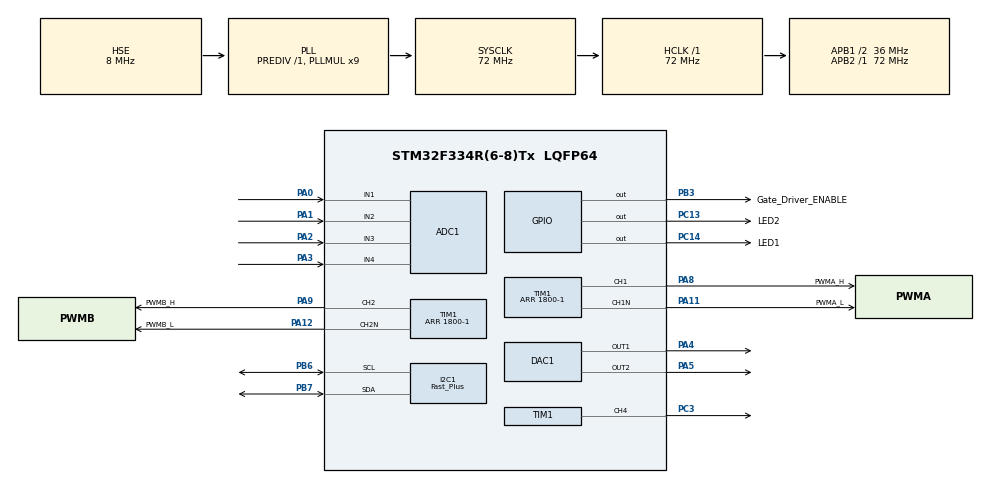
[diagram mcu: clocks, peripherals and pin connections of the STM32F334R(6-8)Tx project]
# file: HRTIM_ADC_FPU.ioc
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ADC1.Channel-0\#ChannelRegularConversion=ADC_CHANNEL_1
ADC1.ExternalTrigInjecConv=ADC_EXTERNALTRIGINJECCONV_T1_CC4
ADC1.InjNumberOfConversion=4
ADC1.InjectedChannel-1\#ChannelInjectedConversion=ADC_CHANNEL_1
ADC1.InjectedChannel-2\#ChannelInjectedConversion=ADC_CHANNEL_2
ADC1.InjectedChannel-3\#ChannelInjectedConversion=ADC_CHANNEL_3
ADC1.InjectedChannel-4\#ChannelInjectedConversion=ADC_CHANNEL_4
ADC1.InjectedOffset-1\#ChannelInjectedConversion=0
ADC1.InjectedOffset-2\#ChannelInjectedConversion=0
ADC1.InjectedOffset-3\#ChannelInjectedConversion=0
ADC1.InjectedOffset-4\#ChannelInjectedConversion=0
ADC1.InjectedOffsetNumber-1\#ChannelInjectedConversion=ADC_OFFSET_NONE
ADC1.InjectedOffsetNumber-2\#ChannelInjectedConversion=ADC_OFFSET_NONE
ADC1.InjectedOffsetNumber-3\#ChannelInjectedConversion=ADC_OFFSET_NONE
ADC1.InjectedOffsetNumber-4\#ChannelInjectedConversion=ADC_OFFSET_NONE
ADC1.InjectedRank-1\#ChannelInjectedConversion=1
ADC1.InjectedRank-2\#ChannelInjectedConversion=2
ADC1.InjectedRank-3\#ChannelInjectedConversion=3
ADC1.InjectedRank-4\#ChannelInjectedConversion=4
ADC1.InjectedSamplingTime-1\#ChannelInjectedConversion=ADC_SAMPLETIME_19CYCLES_5
ADC1.InjectedSamplingTime-2\#ChannelInjectedConversion=ADC_SAMPLETIME_19CYCLES_5
ADC1.InjectedSamplingTime-3\#ChannelInjectedConversion=ADC_SAMPLETIME_19CYCLES_5
ADC1.InjectedSamplingTime-4\#ChannelInjectedConversion=ADC_SAMPLETIME_19CYCLES_5
ADC1.InjectedSamplingTimeOPAMP-1\#ChannelInjectedConversion=ADC_SAMPLETIME_61CYCLES_5
ADC1.InjectedSamplingTimeOPAMP-2\#ChannelInjectedConversion=ADC_SAMPLETIME_61CYCLES_5
ADC1.InjectedSamplingTimeOPAMP-3\#ChannelInjectedConversion=ADC_SAMPLETIME_61CYCLES_5
ADC1.InjectedSamplingTimeOPAMP-4\#ChannelInjectedConversion=ADC_SAMPLETIME_61CYCLES_5
ADC1.NbrOfConversionFlag=1
ADC1.Offset-0\#ChannelRegularConversion=0
ADC1.OffsetNumber-0\#ChannelRegularConversion=ADC_OFFSET_NONE
ADC1.Rank-0\#ChannelRegularConversion=1
ADC1.Rank1_Channel=ADC_CHANNEL_1
ADC1.Rank2_Channel=ADC_CHANNEL_2
ADC1.Rank3_Channel=ADC_CHANNEL_3
ADC1.Rank4_Channel=ADC_CHANNEL_4
ADC1.SamplingTime-0\#ChannelRegularConversion=ADC_SAMPLETIME_1CYCLE_5
ADC1.SubFamily=STM32F334x8
ADC1.master=1
I2C1.I2C_Speed_Mode=I2C_Fast_Plus
I2C1.Timing=0x00000001
Mcu.Family=STM32F3
Mcu.Name=STM32F334R(6-8)Tx
Mcu.Package=LQFP64
NVIC.PriorityGroup=NVIC_PRIORITYGROUP_4
NVIC.TIM1_UP_TIM16_IRQn=true\:0\:0\:true\:false\:true\:true\:true\:true
PA0.Mode=IN1-Single-Ended
PA0.Signal=ADC1_IN1
PA1.Mode=IN2-Single-Ended
PA1.Signal=ADC1_IN2
PA11.GPIO_Label=PWMA_L
PA11.Mode=PWM Generation1 CH1 CH1N
PA11.Signal=TIM1_CH1N
PA12.GPIO_Label=PWMB_L
PA12.Mode=PWM Generation2 CH2 CH2N
PA12.Signal=TIM1_CH2N
PA13.Mode=Serial_Wire
PA13.Signal=SYS_JTMS-SWDIO
PA14.Mode=Serial_Wire
PA14.Signal=SYS_JTCK-SWCLK
PA2.Mode=IN3-Single-Ended
PA2.Signal=ADC1_IN3
PA3.Mode=IN4-Single-Ended
PA3.Signal=ADC1_IN4
PA4.Signal=COMP_DAC11_group
PA5.Signal=COMP_DAC12_group
PA8.GPIO_Label=PWMA_H
PA8.Signal=S_TIM1_CH1
PA9.GPIO_Label=PWMB_H
PA9.Signal=S_TIM1_CH2
PB3.GPIO_Label=Gate_Driver_ENABLE
PB3.GPIO_PuPd=GPIO_PULLDOWN
PB3.Signal=GPIO_Output
PB6.Mode=I2C
PB6.Signal=I2C1_SCL
PB7.Mode=I2C
PB7.Signal=I2C1_SDA
PC13.GPIO_Label=LED2
PC13.Signal=GPIO_Output
PC14\ /\ OSC32_IN.GPIO_Label=LED1
PC14\ /\ OSC32_IN.Signal=GPIO_Output
PC3.Signal=S_TIM1_CH4
PF0\ /\ OSC_IN.Mode=HSE-External-Oscillator
PF0\ /\ OSC_IN.Signal=RCC_OSC_IN
PF1\ /\ OSC_OUT.Mode=HSE-External-Oscillator
PF1\ /\ OSC_OUT.Signal=RCC_OSC_OUT
ProjectManager.HeapSize=0x200
ProjectManager.StackSize=0x400
ProjectManager.TargetToolchain=MDK-ARM V5.32
RCC.AHBFreq_Value=72000000
RCC.APB1CLKDivider=RCC_HCLK_DIV2
RCC.APB1Freq_Value=36000000
RCC.APB1TimFreq_Value=72000000
RCC.APB2Freq_Value=72000000
RCC.APB2TimFreq_Value=72000000
RCC.CortexFreq_Value=72000000
RCC.HCLKFreq_Value=72000000
RCC.HSE_VALUE=8000000
RCC.HSI_VALUE=8000000
RCC.LSE_VALUE=32768
RCC.PLLMUL=RCC_PLL_MUL9
RCC.PLLSourceVirtual=RCC_PLLSOURCE_HSE
RCC.SYSCLKFreq_VALUE=72000000
RCC.SYSCLKSourceVirtual=RCC_SYSCLKSOURCE_PLLCLK
SH.COMP_DAC11_group.0=DAC1_OUT1,DAC_OUT1
SH.COMP_DAC12_group.0=DAC1_OUT2,DAC_OUT2
SH.S_TIM1_CH1.0=TIM1_CH1,PWM Generation1 CH1 CH1N
SH.S_TIM1_CH2.0=TIM1_CH2,PWM Generation2 CH2 CH2N
SH.S_TIM1_CH4.0=TIM1_CH4,PWM Generation4 CH4
STMicroelectronics.X-CUBE-ALGOBUILD.1.3.0.LibraryCcDSPOoLibraryJjDSPOoLibrary=true
TIM1.AutoReloadPreload=TIM_AUTORELOAD_PRELOAD_ENABLE
TIM1.AutomaticOutput=TIM_AUTOMATICOUTPUT_ENABLE
TIM1.Channel-PWM\ Generation1\ CH1\ CH1N=TIM_CHANNEL_1
TIM1.Channel-PWM\ Generation2\ CH2\ CH2N=TIM_CHANNEL_2
TIM1.Channel-PWM\ Generation4\ CH4=TIM_CHANNEL_4
TIM1.CounterMode=TIM_COUNTERMODE_CENTERALIGNED1
TIM1.DeadTime=20
TIM1.OCMode_PWM-PWM\ Generation1\ CH1\ CH1N=TIM_OCMODE_PWM1
TIM1.OCMode_PWM-PWM\ Generation2\ CH2\ CH2N=TIM_OCMODE_PWM1
TIM1.OCMode_PWM-PWM\ Generation4\ CH4=TIM_OCMODE_PWM2
TIM1.OCNPolarity_1=TIM_OCNPOLARITY_HIGH
TIM1.OCPolarity_1=TIM_OCPOLARITY_HIGH
TIM1.OffStateIDLEMode=TIM_OSSI_ENABLE
TIM1.OffStateRunMode=TIM_OSSR_ENABLE
TIM1.Period=1800-1
TIM1.Pulse-PWM\ Generation1\ CH1\ CH1N=600-1
TIM1.Pulse-PWM\ Generation2\ CH2\ CH2N=600-1
TIM1.Pulse-PWM\ Generation4\ CH4=1800-3
TIM1.RepetitionCounter=1
TIM1.TIM_MasterOutputTrigger=TIM_TRGO_OC4REF
TIM1.TIM_MasterOutputTrigger2=TIM_TRGO2_RESET
TIM1.TIM_MasterSlaveMode=TIM_MASTERSLAVEMODE_DISABLE
VP_STMicroelectronics.X-CUBE-ALGOBUILD_VS_DSPOoLibraryJjLibrary_1.3.0_1.3.0.Mode=DSPOoLibraryJjLibrary
VP_TIM1_VS_ClockSourceINT.Mode=Internal
board=custom

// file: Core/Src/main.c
/* USER CODE BEGIN Header */
/**
  ******************************************************************************
  * @file           : main.c
  * @brief          : Main program body
  ******************************************************************************
  * @attention
  *
  * Copyright (c) 2025 STMicroelectronics.
  * All rights reserved.
  *
  * This software is licensed under terms that can be found in the LICENSE file
  * in the root directory of this software component.
  * If no LICENSE file comes with this software, it is provided AS-IS.
  *
  ******************************************************************************
  */
/* USER CODE END Header */
#include "main.h"
#include "adc.h"
#include "dac.h"
#include "i2c.h"
#include "tim.h"
#include "gpio.h"

/* USER CODE BEGIN PV */

__IO float theat					 = 0.0f;//6.25176808f;//0.0f;
//float sin_ref 			 	 = 0.0f;
//__IO float Duty 					 = 0.0f;

__IO uint16_t i = 0, x = 0 ,sample_cnt = 0;
__IO float ADC[1200] = {0.0f};
//ac
__IO float ac_voltage_pow_sum = 0;
__IO float ac_current_pow_sum = 0;
__IO float ac_voltage_rms = 0.0f;
__IO float ac_current_rms = 0.0f;
//----------------------------------------------------
//dc
__IO uint32_t dc_voltage_sum = 0;
__IO uint32_t dc_current_sum = 0;
__IO uint16_t dc_voltage_avg = 0;
__IO uint16_t dc_current_avg = 0;
__IO float dc_voltage = 0.0f;
__IO float dc_current = 0.0f;
//------------------------------------------------------
//soft_starer
float soft_starter_deep = 0.8f;
uint16_t soft_starter_cnt = 0;

/* USER CODE END PV */

void SystemClock_Config(void);

/* USER CODE BEGIN 0 */

/*---------------------------------------------------------------------------------
Totem_pfc 参考matlab仿真得出的码

Fs		20k
stm32f334r8平台
使用TIM1的PWM和IT

PLL		参考ti
PI		参考ti

-----------------------------------------------------------------------------------*/
/* USER CODE END 0 */

int main(void)
{

  /* MCU Configuration--------------------------------------------------------*/

  /* Reset of all peripherals, Initializes the Flash interface and the Systick. */
  HAL_Init();

  /* Configure the system clock */
  SystemClock_Config();

  /* Initialize all configured peripherals */
  MX_GPIO_Init();
  MX_I2C1_Init();
  MX_TIM1_Init();
  MX_ADC1_Init();
  MX_DAC1_Init();
  /* USER CODE BEGIN 2 */
	GPIOC->ODR |= (1 << 14);
	OLED_Init();

	//ADC校准
	HAL_Delay(50);
	HAL_ADCEx_Calibration_Start(&hadc1,ADC_SINGLE_ENDED);    //AD校准
	HAL_Delay(50);

	//SOGI初始化
	SOGI_PLL_Init(50.0f, 20e3f, &spll1);

	//Notch_Fltr
	Notch_Fltr_Init(&Bus_Volt_notch, &notch_TwiceGridFreq,
					 0.25f, 0.00001f, 100.0f, 20e3f);
	PR_Init(&pr);

	//开启ADC注入组
	HAL_ADCEx_InjectedStart(&hadc1);

  	HAL_TIM_PWM_Start(&htim1,TIM_CHANNEL_1);
	HAL_TIMEx_PWMN_Start(&htim1,TIM_CHANNEL_1);
	HAL_TIM_PWM_Start(&htim1,TIM_CHANNEL_2);
	HAL_TIMEx_PWMN_Start(&htim1,TIM_CHANNEL_2);
	HAL_TIM_PWM_Start(&htim1,TIM_CHANNEL_4);//用来触发同步采样

	HAL_DAC_Start(&hdac1,DAC_CHANNEL_1);  //开启DAC1
	HAL_DAC_Start(&hdac1,DAC_CHANNEL_2);
	HAL_DAC_SetValue(&hdac1, DAC_CHANNEL_1, DAC_ALIGN_12B_R, 4000);
	HAL_DAC_SetValue(&hdac1, DAC_CHANNEL_2, DAC_ALIGN_12B_R, 4000);

	HAL_TIM_Base_Start_IT(&htim1);			//开启中断

	OLED_ShowString(2,1,"***Totem_PFC***");	//到目前成功初始化
	OLED_ShowString(3,1,"AC V:  .  I: .  ");
	OLED_ShowString(4,1,"DC V:  .  I: .  ");
	GPIOC->ODR &= ~(1 << 14);
  /* USER CODE END 2 */

  /* Infinite loop */
  while (1)
  {

    /* USER CODE BEGIN 3 */

	  OLED_ShowNum(3,  6, (uint8_t)	 ac_voltage_rms, 2);
	  OLED_ShowNum(3,  9, (uint16_t)(ac_voltage_rms * 100) % 100, 2);
	  OLED_ShowNum(3, 13, (uint8_t)  ac_current_rms, 1);
	  OLED_ShowNum(3, 15, (uint16_t)(ac_current_rms * 100) % 100, 2);
	  OLED_ShowNum(4,  6, (uint8_t)dc_voltage, 2);
	  OLED_ShowNum(4,  9, (uint16_t)(dc_voltage * 100) % 100, 2);
	  OLED_ShowNum(4, 13, (uint8_t)dc_current, 1);
	  OLED_ShowNum(4, 15, (uint16_t)(dc_current * 100) % 100, 2);
	  OLED_ShowNum(1, 1, (uint16_t)(I_set_ref * 100), 3);
  }
  /* USER CODE END 3 */
}

void SystemClock_Config(void)
{
  RCC_OscInitTypeDef RCC_OscInitStruct = {0};
  RCC_ClkInitTypeDef RCC_ClkInitStruct = {0};
  RCC_PeriphCLKInitTypeDef PeriphClkInit = {0};

  /** Initializes the RCC Oscillators according to the specified parameters
  * in the RCC_OscInitTypeDef structure.
  */
  RCC_OscInitStruct.OscillatorType = RCC_OSCILLATORTYPE_HSI|RCC_OSCILLATORTYPE_HSE;
  RCC_OscInitStruct.HSEState = RCC_HSE_ON;
  RCC_OscInitStruct.HSEPredivValue = RCC_HSE_PREDIV_DIV1;
  RCC_OscInitStruct.HSIState = RCC_HSI_ON;
  RCC_OscInitStruct.HSICalibrationValue = RCC_HSICALIBRATION_DEFAULT;
  RCC_OscInitStruct.PLL.PLLState = RCC_PLL_ON;
  RCC_OscInitStruct.PLL.PLLSource = RCC_PLLSOURCE_HSE;
  RCC_OscInitStruct.PLL.PLLMUL = RCC_PLL_MUL9;
  if (HAL_RCC_OscConfig(&RCC_OscInitStruct) != HAL_OK)
  {
    Error_Handler();
  }

  /** Initializes the CPU, AHB and APB buses clocks
  */
  RCC_ClkInitStruct.ClockType = RCC_CLOCKTYPE_HCLK|RCC_CLOCKTYPE_SYSCLK
                              |RCC_CLOCKTYPE_PCLK1|RCC_CLOCKTYPE_PCLK2;
  RCC_ClkInitStruct.SYSCLKSource = RCC_SYSCLKSOURCE_PLLCLK;
  RCC_ClkInitStruct.AHBCLKDivider = RCC_SYSCLK_DIV1;
  RCC_ClkInitStruct.APB1CLKDivider = RCC_HCLK_DIV2;
  RCC_ClkInitStruct.APB2CLKDivider = RCC_HCLK_DIV1;

  if (HAL_RCC_ClockConfig(&RCC_ClkInitStruct, FLASH_LATENCY_2) != HAL_OK)
  {
    Error_Handler();
  }
  PeriphClkInit.PeriphClockSelection = RCC_PERIPHCLK_I2C1|RCC_PERIPHCLK_TIM1
                              |RCC_PERIPHCLK_ADC12;
  PeriphClkInit.Adc12ClockSelection = RCC_ADC12PLLCLK_DIV1;
  PeriphClkInit.I2c1ClockSelection = RCC_I2C1CLKSOURCE_HSI;
  PeriphClkInit.Tim1ClockSelection = RCC_TIM1CLK_HCLK;
  if (HAL_RCCEx_PeriphCLKConfig(&PeriphClkInit) != HAL_OK)
  {
    Error_Handler();
  }
}

/* USER CODE BEGIN 4 */

/***************ADC_Indicate****************/
//hadc1.Instance->JDR1		AC_I
//hadc1.Instance->JDR2		AC_V
//hadc1.Instance->JDR3		DC_V
//hadc1.Instance->JDR4		DC_I

void HAL_TIM_PeriodElapsedCallback(TIM_HandleTypeDef *htim)
{
		GPIOC->ODR |= (1 << 13);

/********************************---temp sample v_i start---***********************************///--------------------
		float vac       = (hadc1.Instance->JDR2 - Vac_Offset  ) * Vac_Factor;		//Vac
		float iac       = (hadc1.Instance->JDR1 - IL_Offset   ) * IL_Factor;		//Iac
		float Vbus_      =  hadc1.Instance->JDR3 * Vbus_Factor   - Vbus_Factor_B;	//Vbus
		float Ibus      = (hadc1.Instance->JDR4	- Ibus_Offset ) * Ibus_Factor;		//Ibus

		//Notch Fltr  直流母线陷波
		Bus_Volt_notch.In = Vbus_;
		NOTCH_FLTR_F_run(&Bus_Volt_notch, &notch_TwiceGridFreq);
		float Vbus = Bus_Volt_notch.Out;
/********************************---temp sample v_i end---***********************************///--------------------

/********************************---SPLL start---***********************************///--------------------
		spll1.u[0] = vac;
		SPLL_1ph_SOGI_F_FUNC(&spll1);
/********************************---SPLL  end---***********************************///--------------------

	//soft_starter
	if(5000 > soft_starter_cnt)
	{
		soft_starter_cnt++;
		soft_starter_deep += 0.00004f;
	}

/********************************---Totem_pfc_loop start---***********************************///--------------------
		g_acdc_ctrlpar.vbus_f = Vbus;			// 母线电压实时值
		g_acdc_ctrlpar.vbus = Vbus;           	// 母线电压实时值
		g_acdc_ctrlpar.vbus_ref = 45.0f * soft_starter_deep;    // 母线电压参考
		g_acdc_ctrlpar.iac = iac;               // 电网输入电流   PFC电感电流
		g_acdc_ctrlpar.vac = vac;               // 电网电压实时值
		g_acdc_ctrlpar.sintheta =spll1.sin;     // 电网单位正弦电压实时值 （sin(wt)）

//		g_acdc_ctrlpar.ctrl_vol = Totem_PFC_ctrl(&g_acdc_ctrlpar) * 0.5f;
		g_acdc_ctrlpar.ctrl_vol = V_pi_I_pr_Loop(&pr, 45.0f * soft_starter_deep,
					 Vbus, vac, iac, arm_sin_f32(spll1.theta[0] - 0.0f)) * 0.5f;

/********************************---Totem_pfc_loop  end---***********************************///--------------------

/********************************---duty write start---***********************************///--------------------
		float D_p = 0.5f+g_acdc_ctrlpar.ctrl_vol;//接对应交流线1相对于的半桥并且接在电压检测的正  PA8 ccr1
		float D_n = 0.5f-g_acdc_ctrlpar.ctrl_vol;//接对应交流线2相对于的半桥并且接在电压检测的负  PA9 ccr2
		TIM1->CCR1 = (uint32_t) (D_p * (period - 1));
		TIM1->CCR2 = (uint32_t) (D_n * (period - 1));
/********************************---duty write end---***********************************///--------------------

/********************************---sample start---***********************************///--------------------
		//平方和---AC
		ac_voltage_pow_sum += vac * vac;
		ac_current_pow_sum += iac * iac;
		//Vbus
		dc_voltage_sum += hadc1.Instance->JDR3 - dc_voltage_avg;
		dc_voltage_avg 	= dc_voltage_sum >>7;
		dc_voltage 		= dc_voltage_avg * Vbus_Factor - Vbus_Factor_B;
		//Ibus
		dc_current_sum += hadc1.Instance->JDR4 - dc_current_avg - 2066;
		dc_current_avg 	= dc_current_sum >>10;
		dc_current 		= dc_current_avg * Ibus_Factor;
		//flag
		sample_cnt++;
		if(800 == sample_cnt)
		{
			sample_cnt = 0;
			float ac_voltage_sqrt = 0.0f;
			arm_sqrt_f32(ac_voltage_pow_sum, &ac_voltage_sqrt);
			//RMS
			ac_voltage_rms = ac_voltage_sqrt * 0.035355339f;
			ac_voltage_pow_sum = 0.0f;

			float ac_current_sqrt = 0.0f;
			arm_sqrt_f32(ac_current_pow_sum, &ac_current_sqrt);
			//RMS
			ac_current_rms = ac_current_sqrt * 0.035355339f ;    // *0.99208
			ac_current_pow_sum = 0.0f;
		}
/********************************---sample END---***********************************///--------------------

/********************************---Dbug save start---***********************************///--------------------
//		ADC[x] = spll1.sin;
//		x++;
//		x %=1200;

		DAC1->DHR12R1 = (spll1.sin + 1) * 2000;
		DAC1->DHR12R2 = hadc1.Instance->JDR2;

/********************************---Dbug save END---***********************************///--------------------

/********************************---Inverter start---***********************************///--------------------
/********************************---Inverter end---***********************************///--------------------

		//C13=0
		GPIOC->ODR &= ~(1 << 13);
}

/* USER CODE END 4 */

void Error_Handler(void)
{
  __disable_irq();
  while (1)
  {
  }
}
